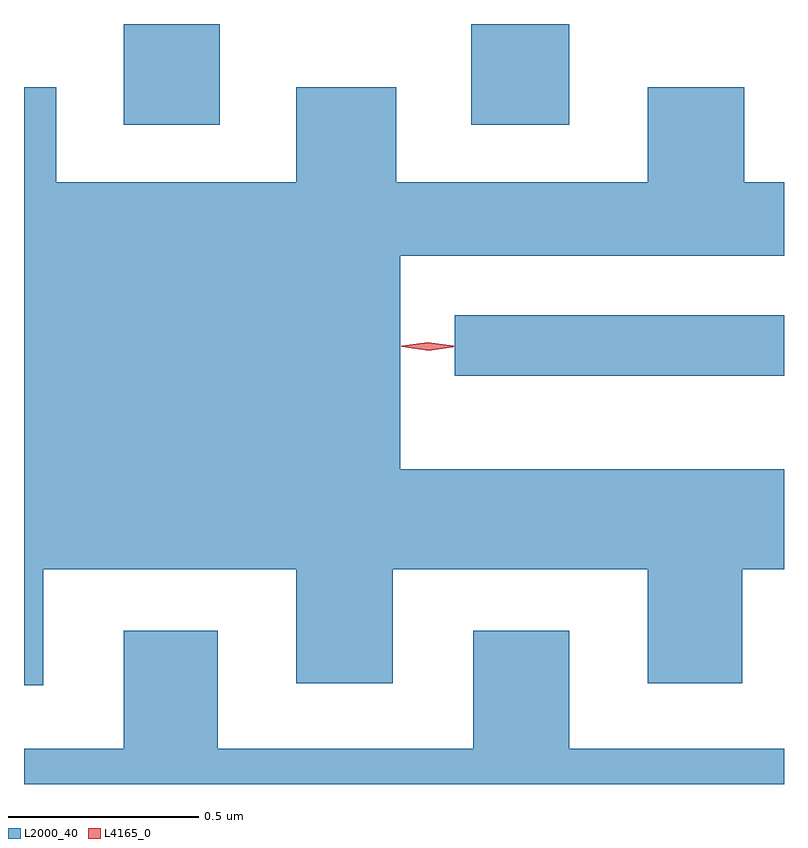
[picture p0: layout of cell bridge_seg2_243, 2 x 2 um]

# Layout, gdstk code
import gdstk
lib = gdstk.Library(unit=1e-6, precision=1e-09)
def R(c, l, rs):  # rectangles x0, y0, x1, y1
    for r in rs: c.add(gdstk.rectangle(r[:2], r[2:], *l))
def P(c, l, *ps):  # polygons
    for p in ps: c.add(gdstk.Polygon(p, *l))
L2000_40 = (2000, 40)
L4165_0 = (4165, 0)

bridge_seg2_243 = lib.new_cell('bridge_seg2_243')
R(bridge_seg2_243, L2000_40, [(602.433,1058.446,603.299,1058.604), (601.561,1059.106,601.814,1059.371), (602.476,1059.106,602.734,1059.371)])
P(bridge_seg2_243, L2000_40, [(601.349,1057.936),(602.016,1057.936),(602.016,1057.636),(602.269,1057.636),(602.269,1057.936),(602.941,1057.936),(602.941,1057.636),(603.189,1057.636),(603.189,1057.936),(603.299,1057.936),(603.299,1058.199),(602.289,1058.199),(602.289,1058.761),(603.299,1058.761),(603.299,1058.954),(603.194,1058.954),(603.194,1059.204),(602.941,1059.204),(602.941,1058.954),(602.279,1058.954),(602.279,1059.204),(602.016,1059.204),(602.016,1058.954),(601.384,1058.954),(601.384,1059.204),(601.299,1059.204),(601.299,1057.631),(601.349,1057.631)],
  [(603.299,1057.464),(602.734,1057.464),(602.734,1057.774),(602.481,1057.774),(602.481,1057.464),(601.809,1057.464),(601.809,1057.774),(601.561,1057.774),(601.561,1057.464),(601.299,1057.464),(601.299,1057.371),(603.299,1057.371)])
P(bridge_seg2_243, L4165_0, [(602.364,1058.511),(602.302,1058.52),(602.302,1058.52),(602.302,1058.521),(602.364,1058.531),(602.426,1058.522),(602.427,1058.521),(602.426,1058.52)],
  [(602.361,1058.513),(602.293,1058.522),(602.292,1058.523),(602.293,1058.524),(602.361,1058.533),(602.43,1058.524),(602.43,1058.523),(602.43,1058.522)])

lib.write_gds('bridge_seg2_243.gds')
